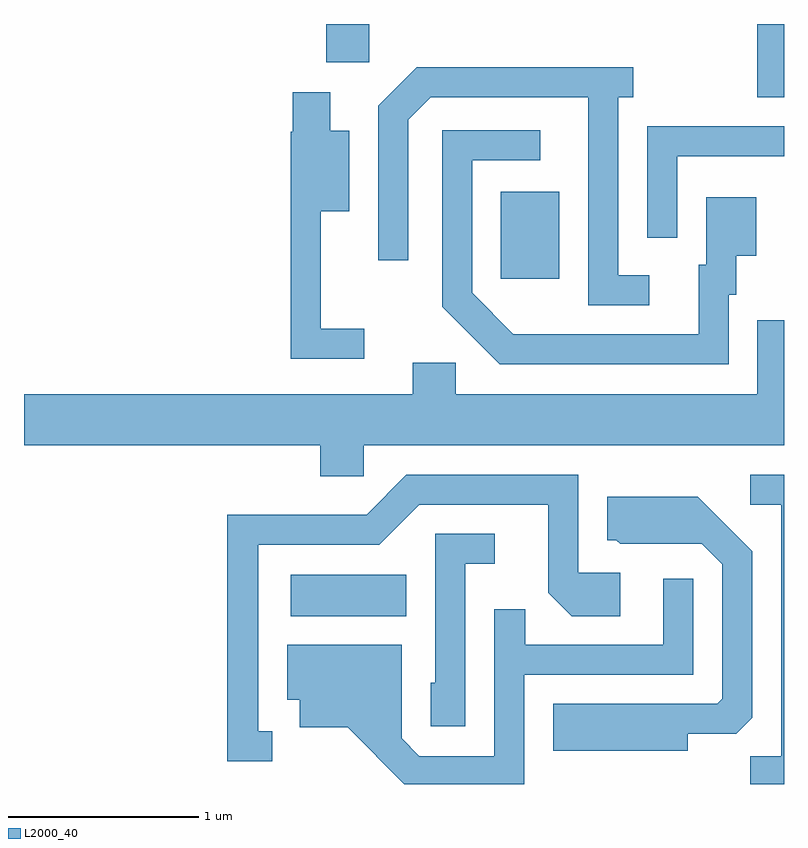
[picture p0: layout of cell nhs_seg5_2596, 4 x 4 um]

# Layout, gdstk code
import gdstk
lib = gdstk.Library(unit=1e-6, precision=1e-09)
def R(c, l, rs):  # rectangles x0, y0, x1, y1
    for r in rs: c.add(gdstk.rectangle(r[:2], r[2:], *l))
def P(c, l, *ps):  # polygons
    for p in ps: c.add(gdstk.Polygon(p, *l))
L2000_40 = (2000, 40)

nhs_seg5_2596 = lib.new_cell('nhs_seg5_2596')
R(nhs_seg5_2596, L2000_40, [(263.016,1506.956,263.624,1507.174), (264.121,1508.731,264.429,1509.189), (265.471,1509.686,265.611,1510.072), (263.201,1509.871,263.429,1510.072)])
P(nhs_seg5_2596, L2000_40, [(264.903,1508.749),(264.739,1508.749),(264.739,1509.686),(264.818,1509.686),(264.818,1509.844),(263.679,1509.844),(263.476,1509.642),(263.476,1508.828),(263.634,1508.828),(263.634,1509.569),(263.752,1509.686),(264.581,1509.686),(264.581,1508.591),(264.903,1508.591)],
  [(263.403,1508.469),(263.174,1508.469),(263.174,1509.086),(263.324,1509.086),(263.324,1509.509),(263.224,1509.509),(263.224,1509.714),(263.026,1509.714),(263.026,1509.505),(263.016,1509.505),(263.016,1508.311),(263.403,1508.311)],
  [(265.049,1509.376),(265.611,1509.376),(265.611,1509.534),(264.891,1509.534),(264.891,1508.948),(265.049,1508.948)],
  [(265.319,1508.646),(265.359,1508.646),(265.359,1508.851),(265.464,1508.851),(265.464,1509.159),(265.201,1509.159),(265.201,1508.804),(265.161,1508.804),(265.161,1508.439),(264.187,1508.439),(263.969,1508.657),(263.969,1509.356),(264.328,1509.356),(264.328,1509.514),(263.811,1509.514),(263.811,1508.584),(264.114,1508.281),(265.319,1508.281)],
  [(263.399,1507.856),(265.611,1507.856),(265.611,1508.514),(265.471,1508.514),(265.471,1508.124),(263.884,1508.124),(263.884,1508.289),(263.656,1508.289),(263.656,1508.124),(261.611,1508.124),(261.611,1507.856),(263.171,1507.856),(263.171,1507.691),(263.399,1507.691)],
  [(265.611,1507.699),(265.433,1507.699),(265.433,1507.541),(265.596,1507.541),(265.596,1506.219),(265.433,1506.219),(265.433,1506.072),(265.611,1506.072)],
  [(262.918,1506.349),(262.844,1506.349),(262.844,1507.331),(263.482,1507.331),(263.692,1507.541),(264.371,1507.541),(264.371,1507.079),(264.494,1506.956),(264.749,1506.956),(264.749,1507.184),(264.529,1507.184),(264.529,1507.699),(263.624,1507.699),(263.414,1507.489),(262.681,1507.489),(262.681,1506.191),(262.918,1506.191)],
  [(265.104,1506.336),(265.359,1506.336),(265.444,1506.422),(265.444,1507.297),(265.157,1507.584),(264.681,1507.584),(264.681,1507.356),(264.729,1507.356),(264.749,1507.336),(265.179,1507.336),(265.286,1507.229),(265.286,1506.522),(265.259,1506.494),(264.396,1506.494),(264.396,1506.246),(265.104,1506.246)],
  [(263.934,1507.231),(264.088,1507.231),(264.088,1507.389),(263.776,1507.389),(263.776,1506.604),(263.751,1506.604),(263.751,1506.376),(263.934,1506.376)],
  [(264.244,1506.646),(265.134,1506.646),(265.134,1507.153),(264.976,1507.153),(264.976,1506.804),(264.249,1506.804),(264.249,1506.993),(264.086,1506.993),(264.086,1506.219),(263.692,1506.219),(263.599,1506.312),(263.599,1506.804),(262.996,1506.804),(262.996,1506.516),(263.061,1506.516),(263.061,1506.371),(263.314,1506.371),(263.613,1506.072),(264.244,1506.072)])

lib.write_gds('nhs_seg5_2596.gds')
